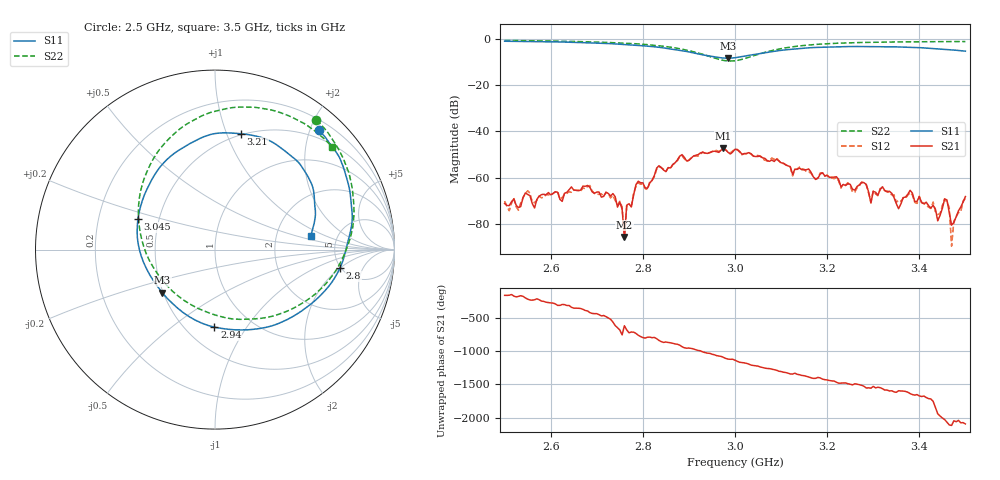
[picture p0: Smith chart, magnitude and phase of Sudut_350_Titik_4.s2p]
# Hz S RI R 50
! CMT, C1220, 16058040, 17.2.0/1
! Date: 15/08/2018 10:36:52
! Data: Format (Calibration Info)
! Freq  S11: Re/Im (F2)  S21: Re/Im (F2)  S12: Re/Im (F2)  S22: Re/Im (F2)
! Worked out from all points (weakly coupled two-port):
!   201 points, 2.5 GHz to 3.5 GHz, reference 50 ohm
!   highest |S21| = -47.30 dB at 2.975 GHz (marker M1); lowest = -85.6 dB at 2.76 GHz (marker M2)
!   lowest |S11| = -8.4 dB at 2.985 GHz (marker M3), VSWR 2.22, Z = 24.7 - j13.9 ohm
!   |S11| at or under -10 dB: nowhere
!   |S22| runs from -9.6 to -0.8 dB; largest |S21 - S12| = 0.00029
!   S11 on the Smith chart (normalised r, x): 2.5 GHz: 0.35, +2.14; 2.8 GHz: 4.93, -1.98; 2.94 GHz: 0.68, -0.72; 3.045 GHz: 0.38, +0.16; 3.21 GHz: 0.49, +1.13; 3.5 GHz: 3.16, +0.70
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2.5e9  0.5781 0.6672  -0.000272 -5.82e-05  -0.000304 -7.17e-05  0.5652 0.7223
2.67e9  0.7483 0.3416  0.000629 -0.000198  0.000564 -0.000212  0.7365 0.4524
2.735e9  0.7633 0.1514  -0.000407 0.000204  -0.000354 0.000212  0.7696 0.2893
2.76e9  0.7451 0.0625  -6.5e-06 5.21e-05  3.39e-05 3.18e-05  0.7745 0.2148
2.765e9  0.7406 0.0444  0.000212 0.000143  0.0002 0.000142  0.7739 0.1978
2.8e9  0.6967 -0.1012  0.000128 -0.000766  9.2e-05 -0.000727  0.7558 0.0729
2.835e9  0.6122 -0.2294  -0.000994 -0.00152  -0.000903 -0.00148  0.7026 -0.0646
2.94e9  -0.0031 -0.4322  0.00228 0.00245  0.00223 0.0025  0.1782 -0.3878
2.975e9  -0.2374 -0.2998  0.00413 -0.00125  0.00402 -0.00124  -0.0969 -0.3268
2.985e9  -0.2932 -0.2406  0.00258 -0.0024  0.00272 -0.00231  -0.1701 -0.2846
3e9  -0.3622 -0.1431  0.00208 -0.00356  0.0019 -0.0037  -0.2683 -0.1997
3.045e9  -0.4296 0.1708  -0.00227 -0.00176  -0.00228 -0.00193  -0.4227 0.1353
3.17e9  -0.00605 0.6454  0.000923 0.000489  0.000867 0.000644  -0.0802 0.7418
3.21e9  0.1454 0.645  0.00102 -0.000164  0.000963 -0.000226  0.0662 0.7858
3.28e9  0.3513 0.5781  3.79e-07 -0.00078  -5.66e-06 -0.000764  0.2752 0.7845
3.295e9  0.387 0.5516  -0.000135 -0.00025  -8.74e-05 -0.00029  0.3129 0.7781
3.335e9  0.4684 0.4824  -0.000481 -0.000176  -0.000442 -0.000143  0.4033 0.7487
3.38e9  0.5315 0.3811  -0.000506 0.000172  -0.00047 7.22e-05  0.4882 0.7072
3.44e9  0.5576 0.2296  -9.24e-05 -7.22e-05  -0.00011 -0.000118  0.5789 0.6424
3.455e9  0.5595 0.1928  -0.000234 0.000259  -0.0002 0.000287  0.5992 0.6258
3.47e9  0.5545 0.1571  6.88e-05 6.54e-05  -5.42e-06 3.29e-05  0.6167 0.6097
3.5e9  0.5326 0.078  0.000158 0.000359  0.000181 0.000308  0.6512 0.5739
